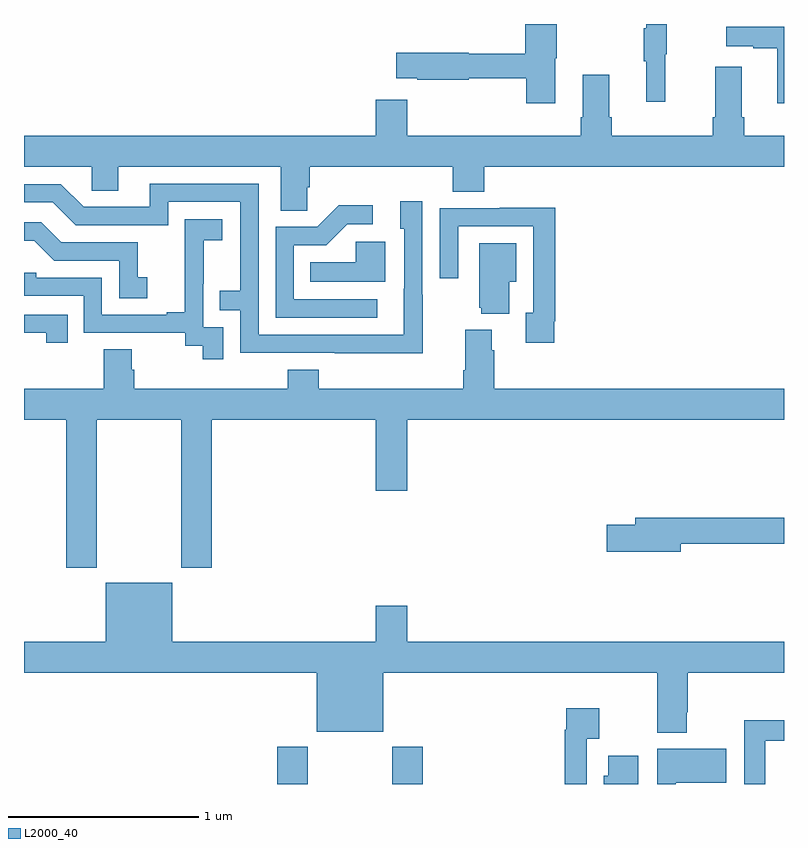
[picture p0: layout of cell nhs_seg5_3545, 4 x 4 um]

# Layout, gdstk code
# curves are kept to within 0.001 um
import gdstk
lib = gdstk.Library(unit=1e-6, precision=1e-09)
def R(c, l, rs):  # rectangles x0, y0, x1, y1
    for r in rs: c.add(gdstk.rectangle(r[:2], r[2:], *l))
def P(c, l, *ps):  # polygons
    for p in ps: c.add(gdstk.Polygon(p, *l))
L2000_40 = (2000, 40)

nhs_seg5_3545 = lib.new_cell('nhs_seg5_3545')
R(nhs_seg5_3545, L2000_40, [(320.333,898.799,320.493,898.996), (320.938,898.799,321.098,898.996)])
P(nhs_seg5_3545, L2000_40, [(321.796,902.619),(321.804,902.619),(321.804,902.799),(321.638,902.799),(321.638,902.642),(321.342,902.642),(321.342,902.648),(320.958,902.648),(320.958,902.513),(321.07,902.513),(321.07,902.506),(321.342,902.506),(321.342,902.514),(321.643,902.514),(321.643,902.382),(321.796,902.382)],
  [(322.376,902.64),(322.384,902.64),(322.384,902.799),(322.274,902.799),(322.274,902.777),(322.263,902.777),(322.263,902.603),(322.274,902.603),(322.274,902.391),(322.376,902.391)],
  [(323,902.785),(322.695,902.785),(322.695,902.681),(322.838,902.681),(322.838,902.671),(322.964,902.671),(322.964,902.382),(323,902.382)],
  [(320.49,901.939),(320.504,901.939),(320.504,902.048),(321.257,902.048),(321.257,901.915),(321.422,901.915),(321.422,902.048),(323,902.048),(323,902.212),(322.79,902.212),(322.79,902.308),(322.777,902.308),(322.777,902.575),(322.637,902.575),(322.637,902.308),(322.625,902.308),(322.625,902.212),(322.094,902.212),(322.094,902.308),(322.081,902.308),(322.081,902.533),(321.941,902.533),(321.941,902.308),(321.929,902.308),(321.929,902.212),(321.016,902.212),(321.016,902.401),(320.852,902.401),(320.852,902.212),(319,902.212),(319,902.048),(319.356,902.048),(319.356,901.921),(319.495,901.921),(319.495,902.048),(320.351,902.048),(320.351,901.816),(320.49,901.816)],
  [(321.099,901.373),(321.096,901.373),(321.096,901.867),(320.981,901.867),(320.981,901.722),(321,901.722),(320.999,901.164),(320.235,901.164),(320.235,901.959),(319.661,901.959),(319.661,901.836),(319.314,901.836),(319.194,901.956),(319,901.956),(319,901.86),(319.152,901.86),(319.272,901.74),(319.758,901.74),(319.758,901.863),(320.139,901.863),(320.139,901.394),(320.029,901.394),(320.029,901.293),(320.139,901.293),(320.139,901.068),(321.099,901.067)],
  [(320.86,901.35),(320.421,901.35),(320.421,901.635),(320.59,901.635),(320.701,901.746),(320.836,901.746),(320.836,901.844),(320.657,901.844),(320.544,901.731),(320.325,901.731),(320.325,901.254),(320.86,901.254)],
  [(321.79,901.234),(321.797,901.234),(321.797,901.832),(321.505,901.832),(321.505,901.83),(321.189,901.83),(321.189,901.461),(321.285,901.461),(321.285,901.734),(321.681,901.734),(321.681,901.278),(321.641,901.278),(321.641,901.122),(321.79,901.122)],
  [(320.049,901.203),(319.944,901.203),(319.944,901.433),(319.946,901.433),(319.946,901.661),(320.044,901.661),(320.044,901.771),(319.846,901.771),(319.846,901.565),(319.847,901.565),(319.847,901.282),(319.751,901.282),(319.751,901.269),(319.41,901.269),(319.41,901.464),(319.065,901.464),(319.065,901.491),(319,901.491),(319,901.368),(319.314,901.368),(319.314,901.173),(319.848,901.173),(319.848,901.105),(319.941,901.105),(319.941,901.035),(320.049,901.035)],
  [(319.648,901.465),(319.599,901.465),(319.599,901.65),(319.195,901.65),(319.09,901.755),(319,901.755),(319,901.658),(319.054,901.658),(319.158,901.554),(319.5,901.554),(319.5,901.356),(319.648,901.356)],
  [(320.902,901.654),(320.745,901.654),(320.745,901.546),(320.506,901.546),(320.506,901.442),(320.902,901.442)],
  [(321.553,901.442),(321.592,901.442),(321.592,901.645),(321.395,901.645),(321.395,901.305),(321.407,901.305),(321.407,901.274),(321.553,901.274)],
  [(319.229,901.269),(319,901.269),(319,901.173),(319.118,901.173),(319.118,901.122),(319.229,901.122)],
  [(319.383,900.716),(319.828,900.716),(319.828,899.937),(319.988,899.937),(319.988,900.716),(320.852,900.716),(320.852,900.342),(321.016,900.342),(321.016,900.716),(323,900.716),(323,900.88),(321.476,900.88),(321.476,901.082),(321.463,901.082),(321.463,901.189),(321.323,901.189),(321.323,900.976),(321.311,900.976),(321.311,900.88),(320.552,900.88),(320.552,900.979),(320.387,900.979),(320.387,900.88),(319.58,900.88),(319.58,900.978),(319.567,900.978),(319.567,901.088),(319.42,901.088),(319.42,900.88),(319,900.88),(319,900.716),(319.223,900.716),(319.223,899.937),(319.383,899.937)],
  [(322.456,900.064),(323,900.064),(323,900.2),(322.217,900.2),(322.217,900.164),(322.068,900.164),(322.068,900.022),(322.456,900.022)],
  [(319.43,899.857),(319.43,899.548),(319,899.548),(319,899.384),(320.54,899.384),(320.54,899.075),(320.89,899.075),(320.89,899.384),(322.333,899.384),(322.333,899.069),(322.488,899.069),(322.488,899.176),(322.493,899.176),(322.493,899.384),(323,899.384),(323,899.548),(321.016,899.548),(321.016,899.737),(320.852,899.737),(320.852,899.548),(319.78,899.548),(319.78,899.857)],
  [(321.963,899.036),(322.027,899.036),(322.027,899.197),(321.855,899.197),(321.855,899.084),(321.847,899.084),(321.847,898.799),(321.963,898.799)],
  [(322.9,899.027),(323,899.027),(323,899.134),(322.79,899.134),(322.79,898.799),(322.9,898.799)],
  [(322.431,898.805),(322.696,898.805),(322.696,898.984),(322.334,898.984),(322.334,898.799),(322.431,898.799)],
  [(322.234,898.948),(322.076,898.948),(322.076,898.842),(322.052,898.842),(322.052,898.799),(322.234,898.799)])

lib.write_gds('nhs_seg5_3545.gds')
